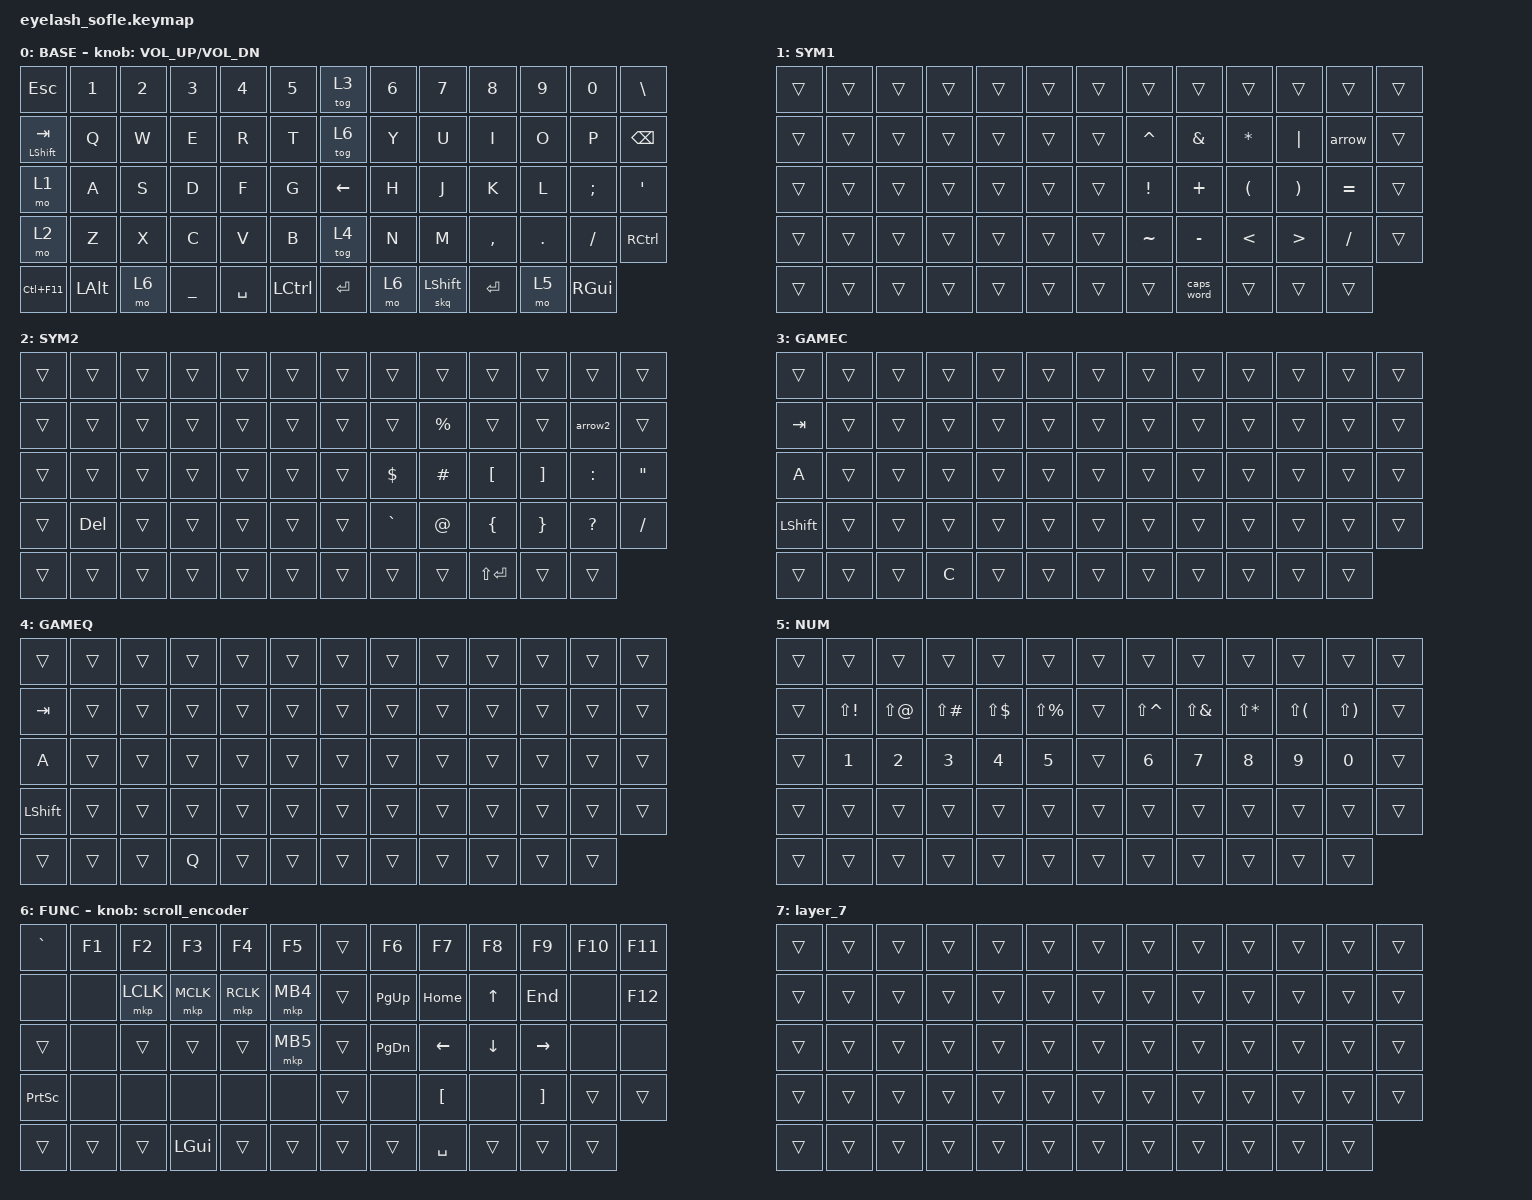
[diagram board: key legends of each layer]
#define ZMK_POINTING_DEFAULT_MOVE_VAL 1200  // 600
#define ZMK_POINTING_DEFAULT_SCRL_VAL 25   // 10

#include <input/processors.dtsi>
#include <zephyr/dt-bindings/input/input-event-codes.h>
#include <behaviors.dtsi>
#include <dt-bindings/zmk/keys.h>
#include <dt-bindings/zmk/pointing.h>

&mmv_input_listener { input-processors = <&zip_xy_scaler 2 1>; };

&msc_input_listener { input-processors = <&zip_scroll_scaler 2 1>; };

&msc {
    acceleration-exponent = <1>;      // 0
    time-to-max-speed-ms = <100>;       // 300
    delay-ms = <0>;                   // 0
};

&mmv {
    time-to-max-speed-ms = <500>;
    acceleration-exponent = <1>;
    trigger-period-ms = <16>;
};

/ {
    scroll_encoder: scroll_encoder {
        compatible = "zmk,behavior-sensor-rotate";
        #sensor-binding-cells = <0>;
        bindings = <&msc SCRL_DOWN>, <&msc SCRL_UP>;

        tap-ms = <100>;
    };

    combos {
        compatible = "zmk,combos";

        lang {
            bindings = <&kp RALT>;
            key-positions = <34 35>;
            layers = <0 3>;
            timeout-ms = <70>;
        };
    };

    macros {
        arrow: arrow {
            compatible = "zmk,behavior-macro";
            #binding-cells = <0>;
            bindings = <&kp MINUS &kp GT>;
            label = "ARROW";
        };

        arrow2: arrow2 {
            compatible = "zmk,behavior-macro";
            #binding-cells = <0>;
            bindings = <&kp EQUAL &kp GT>;
            label = "ARROW2";
        };

        layer_shift: layer_shift {
            compatible = "zmk,behavior-macro";
            #binding-cells = <0>;
            bindings = <&kp LSHFT &mo 2>;
            label = "LAYER_SHIFT";
        };
    };

    behaviors {
        skq: sticky_key_quick_release {
            compatible = "zmk,behavior-sticky-key";
            label = "STICKY_KEY_QUICK_RELEASE";
            #binding-cells = <1>;
            bindings = <&kp>;
            release-after-ms = <1000>;
            quick-release;
        };
    };

    keymap {
        compatible = "zmk,keymap";

        BASE {
            bindings = <
&kp ESC        &kp N1    &kp N2  &kp N3          &kp N4     &kp N5       &tog 3          &kp N6  &kp N7      &kp N8     &kp N9   &kp N0    &kp BACKSLASH
&mt LSHFT TAB  &kp Q     &kp W   &kp E           &kp R      &kp T        &tog 6          &kp Y   &kp U       &kp I      &kp O    &kp P     &kp BACKSPACE
&mo 1          &kp A     &kp S   &kp D           &kp F      &kp G        &kp LEFT_ARROW  &kp H   &kp J       &kp K      &kp L    &kp SEMI  &kp APOS
&mo 2          &kp Z     &kp X   &kp C           &kp V      &kp B        &tog 4          &kp N   &kp M       &kp COMMA  &kp DOT  &kp FSLH  &kp RCTRL
&kp LC(F11)    &kp LALT  &mo 6   &kp UNDERSCORE  &kp SPACE  &kp LCTRL    &kp ENTER       &mo 6   &skq LSHFT  &kp ENTER  &mo 5    &kp RGUI
            >;

            sensor-bindings = <&inc_dec_kp C_VOLUME_UP C_VOL_DN>;
            display-name = " BASE";
        };

        SYM1 {
            bindings = <
&trans  &trans  &trans  &trans  &trans  &trans    &trans  &trans           &trans         &trans                &trans                 &trans     &trans
&trans  &trans  &trans  &trans  &trans  &trans    &trans  &kp CARET        &kp AMPERSAND  &kp ASTRK             &kp PIPE               &arrow     &trans
&trans  &trans  &trans  &trans  &trans  &trans    &trans  &kp EXCLAMATION  &kp PLUS       &kp LEFT_PARENTHESIS  &kp RIGHT_PARENTHESIS  &kp EQUAL  &trans
&trans  &trans  &trans  &trans  &trans  &trans    &trans  &kp TILDE        &kp MINUS      &kp LESS_THAN         &kp GREATER_THAN       &kp FSLH   &trans
&trans  &trans  &trans  &trans  &trans  &trans    &trans  &trans           &caps_word     &trans                &trans                 &trans
            >;

            label = "SYM1";
        };

        SYM2 {
            bindings = <
&trans  &trans      &trans  &trans  &trans  &trans    &trans  &trans      &trans       &trans         &trans           &trans        &trans
&trans  &trans      &trans  &trans  &trans  &trans    &trans  &trans      &kp PERCENT  &trans         &trans           &arrow2       &trans
&trans  &trans      &trans  &trans  &trans  &trans    &trans  &kp DOLLAR  &kp HASH     &kp LBKT       &kp RBKT         &kp COLON     &kp DOUBLE_QUOTES
&trans  &kp DELETE  &trans  &trans  &trans  &trans    &trans  &kp GRAVE   &kp AT_SIGN  &kp LBRC       &kp RIGHT_BRACE  &kp QUESTION  &kp FSLH
&trans  &trans      &trans  &trans  &trans  &trans    &trans  &trans      &trans       &kp LS(ENTER)  &trans           &trans
            >;

            label = "SYM2";
        };

        GAMEC {
            bindings = <
&trans     &trans  &trans  &trans  &trans  &trans    &trans  &trans  &trans  &trans  &trans  &trans  &trans
&kp TAB    &trans  &trans  &trans  &trans  &trans    &trans  &trans  &trans  &trans  &trans  &trans  &trans
&kp A      &trans  &trans  &trans  &trans  &trans    &trans  &trans  &trans  &trans  &trans  &trans  &trans
&kp LSHFT  &trans  &trans  &trans  &trans  &trans    &trans  &trans  &trans  &trans  &trans  &trans  &trans
&trans     &trans  &trans  &kp C   &trans  &trans    &trans  &trans  &trans  &trans  &trans  &trans
            >;

            label = "GAMEC";
        };

        GAMEQ {
            label = "GAMEQ";
            bindings = <
&trans     &trans  &trans  &trans  &trans  &trans    &trans  &trans  &trans  &trans  &trans  &trans  &trans
&kp TAB    &trans  &trans  &trans  &trans  &trans    &trans  &trans  &trans  &trans  &trans  &trans  &trans
&kp A      &trans  &trans  &trans  &trans  &trans    &trans  &trans  &trans  &trans  &trans  &trans  &trans
&kp LSHFT  &trans  &trans  &trans  &trans  &trans    &trans  &trans  &trans  &trans  &trans  &trans  &trans
&trans     &trans  &trans  &kp Q   &trans  &trans    &trans  &trans  &trans  &trans  &trans  &trans
            >;
        };

        NUM {
            bindings = <
&trans  &trans        &trans      &trans         &trans        &trans           &trans  &trans         &trans        &trans        &trans        &trans        &trans
&trans  &kp LS(EXCL)  &kp LS(AT)  &kp LS(POUND)  &kp LS(DLLR)  &kp LS(PRCNT)    &trans  &kp LS(CARET)  &kp LS(AMPS)  &kp LS(STAR)  &kp LS(LPAR)  &kp LS(RPAR)  &trans
&trans  &kp N1        &kp N2      &kp N3         &kp N4        &kp N5           &trans  &kp N6         &kp N7        &kp N8        &kp N9        &kp N0        &trans
&trans  &trans        &trans      &trans         &trans        &trans           &trans  &trans         &trans        &trans        &trans        &trans        &trans
&trans  &trans        &trans      &trans         &trans        &trans           &trans  &trans         &trans        &trans        &trans        &trans
            >;

            label = "NUM";
        };

        FUNC {
            bindings = <
&kp GRAVE        &kp F1  &kp F2     &kp F3        &kp F4     &kp F5      &trans  &kp F6     &kp F7            &kp F8    &kp F9             &kp F10  &kp F11
&none            &none   &mkp LCLK  &mkp MCLK     &mkp RCLK  &mkp MB4    &trans  &kp PG_UP  &kp HOME          &kp UP    &kp END            &none    &kp F12
&trans           &none   &trans     &trans        &trans     &mkp MB5    &trans  &kp PG_DN  &kp LEFT          &kp DOWN  &kp RIGHT          &none    &none
&kp PRINTSCREEN  &none   &none      &none         &none      &none       &trans  &none      &kp LEFT_BRACKET  &none     &kp RIGHT_BRACKET  &trans   &trans
&trans           &trans  &trans     &kp LEFT_GUI  &trans     &trans      &trans  &trans     &kp SPACE         &trans    &trans             &trans
            >;

            display-name = "FUNC";
            sensor-bindings = <&scroll_encoder>;
        };

        layer_7 {
            bindings = <
&trans  &trans  &trans  &trans  &trans  &trans    &trans  &trans  &trans  &trans  &trans  &trans  &trans
&trans  &trans  &trans  &trans  &trans  &trans    &trans  &trans  &trans  &trans  &trans  &trans  &trans
&trans  &trans  &trans  &trans  &trans  &trans    &trans  &trans  &trans  &trans  &trans  &trans  &trans
&trans  &trans  &trans  &trans  &trans  &trans    &trans  &trans  &trans  &trans  &trans  &trans  &trans
&trans  &trans  &trans  &trans  &trans  &trans    &trans  &trans  &trans  &trans  &trans  &trans
            >;
        };
    };
};
